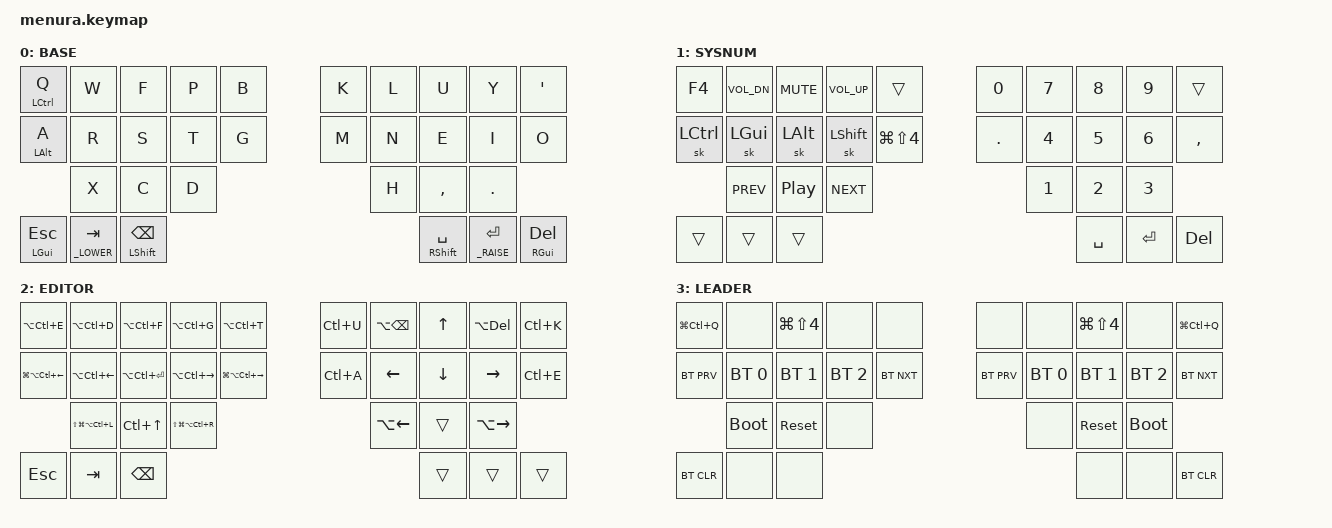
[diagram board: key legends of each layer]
#include <behaviors.dtsi>
#include <dt-bindings/zmk/keys.h>
#include <dt-bindings/zmk/bt.h>

/ {
    chosen {
        zmk,physical-layout = &menura_23332_3_layout;
    };
};

// define layers
#define _DEFAULT 0  // Colemak Dhm
#define _LOWER 1
#define _RAISE 2
#define _STICKY 3

// configure hold tap settings
&lt {
    flavor = "hold-preferred";
};

&mt {
    tapping-term-ms = <150>;  // slightly faster to reduce wait before cmd click
};

&sl {
    release-after-ms = <500>;  // basically leader timeout equivalent
};

// new behaviors for shift tap and mod on alphas
// lmt: https://zmk.dev/docs/behaviors/hold-tap#example-use-cases based on toggle on tap, momentary on hold layers
/ {
    behaviors {
        st: shift_tap {
            compatible = "zmk,behavior-hold-tap";
            #binding-cells = <2>;
            flavor = "tap-preferred";
            tapping-term-ms = <120>;
            bindings = <&kp>, <&kp>;
        };
        am: alpha_mod {
            compatible = "zmk,behavior-hold-tap";
            #binding-cells = <2>;
            flavor = "balanced";
            tapping-term-ms = <150>;
            bindings = <&kp>, <&kp>;
            retro-tap;
        };
        lmt: layer_mo_to {
            compatible = "zmk,behavior-hold-tap";
            #binding-cells = <2>;
            flavor = "hold-preferred";
            tapping-term-ms = <200>;
            bindings = <&mo>, <&to>;
        };
    };
};

// define frequently used keyboard shortcuts

// OS stuff
#define EXPOSE  LC(UP)      // mission control (aka expose)
#define OS_LOCK LG(LC(Q))   // lock screen
#define SNIP    LG(LS(N4))  // screenshot portion of screen

// text editing: cursor movement, text deletion
#define MWL LA(LEFT)   // move cursor one word left
#define MWR LA(RIGHT)  // move cursor one word right
#define MLL LC(A)      // move cursor to beginning of line
#define MLR LC(E)      // move cursor to end of line
#define DWL LA(BSPC)   // delete one word left
#define DWR LA(DEL)    // delete one word right
#define DLL LC(U)      // delete to beginning of line
#define DLR LC(K)      // delete to end of line
#define BOD LG(UP)     // beginning of document
#define EOD LG(DOWN)   // end of document

// window management (OS native)
#define WK_L LC(LEFT)  // go to workspace left
#define WK_R LC(RIGHT) // go to workspace right

// window management (via rectangle)
#define SZ_L_13 LA(LC(D))      // resize window left 1/3
#define SZ_C_13 LA(LC(F))      // resize window center 1/3
#define SZ_R_13 LA(LC(G))      // resize window right 1/3
#define SZ_L_23 LA(LC(E))      // resize window left 2/3
#define SZ_R_23 LA(LC(T))      // resize window right 2/3
#define SZ_L_12 LA(LC(LEFT))   // resize window left 1/2
#define SZ_R_12 LA(LC(RIGHT))  // resize window right 1/2
#define SZ_U_12 LA(LC(UP))     // resize window up 1/2
#define SZ_D_12 LA(LC(DOWN))   // resize window down 1/2
#define SZ_MAX  LA(LC(ENTER))  // resize window maximize
#define THRW_L LG(LA(LC(LEFT)))   // throw to workspace left
#define THRW_R LG(LA(LC(RIGHT)))  // throw to workspace right

// cursor warp (via hammerspoon)
#define FCS_L LS(LG(LA(LC(L))))  // warp cursor to display left
#define FCS_R LS(LG(LA(LC(R))))  // warp cursor to display right

// combos
#define COMBO_TERM 25

/* Key index
 0  1  2  3  4         5  6  7  8  9
10 11 12 13 14        15 16 17 18 19
   20 21 22              23 24 25
        26 27 28    29 30 31         */


/ {
    combos {
        compatible = "zmk,combos";
        combo_rbrc {
            timeout-ms = <COMBO_TERM>;
            key-positions = <0 1>;
            bindings = <&kp RBRC>;
        };
        combo_rbkt {
            timeout-ms = <COMBO_TERM>;
            key-positions = <1 2>;
            bindings = <&kp RBKT>;
        };
        combo_rpar {
            timeout-ms = <COMBO_TERM>;
            key-positions = <2 3>;
            bindings = <&kp RPAR>;
        };
        combo_grave {
            timeout-ms = <COMBO_TERM>;
            key-positions = <3 4>;
            bindings = <&kp GRAVE>;
        };
        combo_lbrc {
            timeout-ms = <COMBO_TERM>;
            key-positions = <10 11>;
            bindings = <&kp LBRC>;
        };
        combo_lbkt {
            timeout-ms = <COMBO_TERM>;
            key-positions = <11 12>;
            bindings = <&kp LBKT>;
        };
        combo_lpar {
            timeout-ms = <COMBO_TERM>;
            key-positions = <12 13>;
            bindings = <&kp LPAR>;
        };
        combo_tilde {
            timeout-ms = <COMBO_TERM>;
            key-positions = <13 14>;
            bindings = <&kp TILDE>;
        };
        combo_z {
            timeout-ms = <COMBO_TERM>;
            key-positions = <20 21>;
            bindings = <&kp Z>;
        };
        combo_v {
            timeout-ms = <COMBO_TERM>;
            key-positions = <21 22>;
            bindings = <&kp V>;
        };
        combo_stickyL {
            timeout-ms = <COMBO_TERM>;
            key-positions = <22 27>;
            bindings = <&sl _STICKY>;
        };
        // TODO all right hand combos
        combo_j {
            timeout-ms = <COMBO_TERM>;
            key-positions = <5 6>;
            bindings = <&kp J>;
        };
        combo_equal {
            timeout-ms = <COMBO_TERM>;
            key-positions = <6 7>;
            bindings = <&kp EQUAL>;
        };
        combo_plus {
            timeout-ms = <COMBO_TERM>;
            key-positions = <7 8>;
            bindings = <&kp PLUS>;
        };
        combo_semi {
            timeout-ms = <COMBO_TERM>;
            key-positions = <8 9>;
            bindings = <&kp SEMI>;
        };
        combo_minus {
            timeout-ms = <COMBO_TERM>;
            key-positions = <16 17>;
            bindings = <&kp MINUS>;
        };
        combo_under {
            timeout-ms = <COMBO_TERM>;
            key-positions = <17 18>;
            bindings = <&kp UNDER>;
        };
        combo_colon {
            timeout-ms = <COMBO_TERM>;
            key-positions = <18 19>;
            bindings = <&kp COLON>;
        };
        combo_bslh {
            timeout-ms = <COMBO_TERM>;
            key-positions = <23 24>;
            bindings = <&kp BSLH>;
        };
        combo_fslh {
            timeout-ms = <COMBO_TERM>;
            key-positions = <24 25>;
            bindings = <&kp FSLH>;
        };
        combo_stickyR {
            timeout-ms = <COMBO_TERM>;
            key-positions = <23 30>;
            bindings = <&sl _STICKY>;
        };
    };
};

/ {
    keymap {
        compatible = "zmk,keymap";

        default_layer {
            display-name = "BASE";
            bindings = <
    &am LCTRL Q &kp W &kp F &kp P &kp B             &kp K &kp L  &kp U     &kp Y   &kp APOS
    &am LALT A  &kp R &kp S &kp T &kp G             &kp M &kp N  &kp E     &kp I   &kp O
                &kp X &kp C &kp D                         &kp H  &kp COMMA &kp DOT
    &mt LGUI ESC &lt _LOWER TAB &st LSHIFT BSPC     &st RSHIFT SPACE &lt _RAISE ENTER &mt RGUI DEL
            >;
        };

        lower_layer {
            display-name = "SYSNUM";
            bindings = <
   &kp F4  &kp C_VOL_DN  &kp K_MUTE  &kp C_VOL_UP &trans          &kp N0   &kp N7  &kp N8  &kp N9  &trans
   &sk LCTRL &sk LGUI &sk LALT   &sk LSHIFT  &kp SNIP             &kp DOT  &kp N4  &kp N5  &kp N6  &kp COMMA
       &kp C_PREV    &kp C_PP    &kp C_NEXT                                &kp N1  &kp N2  &kp N3 
                                &trans  &trans  &trans            &kp SPACE  &kp ENTER  &kp DEL
            >;
        };

        raise_layer {
            display-name = "EDITOR";
            bindings = <
   &kp SZ_L_23 &kp SZ_L_13 &kp SZ_C_13 &kp SZ_R_13 &kp SZ_R_23      &kp DLL  &kp DWL  &kp UP  &kp DWR &kp DLR
   &kp THRW_L &kp SZ_L_12 &kp SZ_MAX  &kp SZ_R_12  &kp THRW_R    &kp MLL  &kp LEFT &kp DOWN &kp RIGHT &kp MLR
      &kp FCS_L   &kp EXPOSE      &kp FCS_R                  &kp MWL  &trans &kp MWR 
                           &kp ESC &kp TAB  &kp BSPC   &trans   &trans    &trans
            >;
        };

        sticky_layer {
            display-name = "LEADER";
            bindings = <
    &kp OS_LOCK &none &kp SNIP    &none        &none       &none      &none       &kp SNIP     &none &kp OS_LOCK
    &bt BT_PRV &bt BT_SEL 0 &bt BT_SEL 1 &bt BT_SEL 2 &bt BT_NXT  &bt BT_PRV &bt BT_SEL 0 &bt BT_SEL 1 &bt BT_SEL 2 &bt BT_NXT
    &bootloader  &sys_reset     &none &none &sys_reset   &bootloader
                    &bt BT_CLR &none &none &none &none &bt BT_CLR
            >;
        };
    };
};
